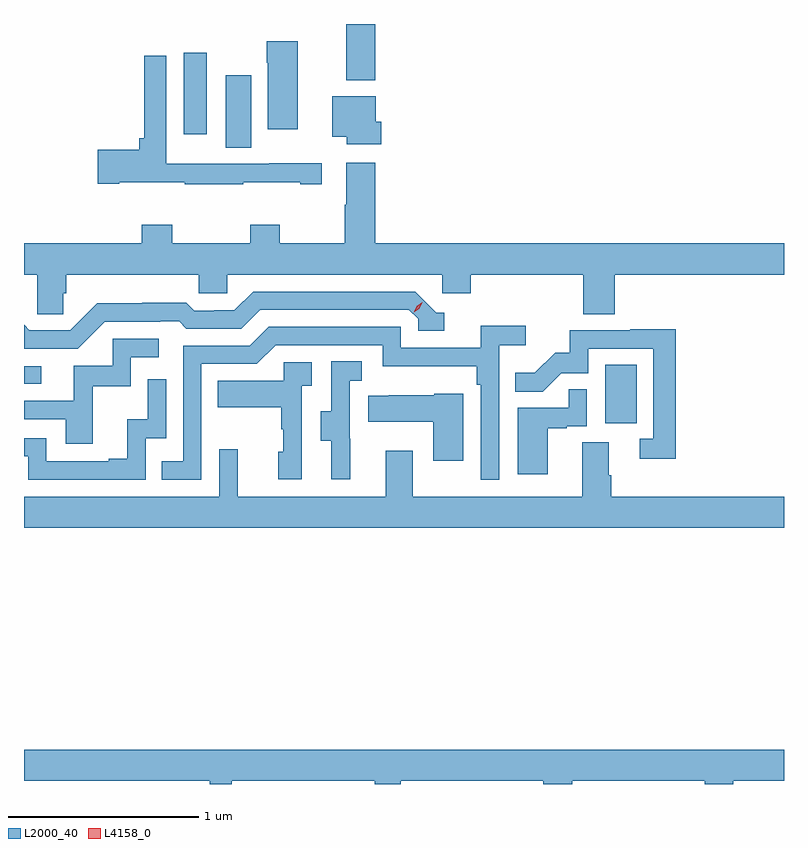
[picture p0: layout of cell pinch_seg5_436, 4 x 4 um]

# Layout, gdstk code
import gdstk
lib = gdstk.Library(unit=1e-6, precision=1e-09)
def R(c, l, rs):  # rectangles x0, y0, x1, y1
    for r in rs: c.add(gdstk.rectangle(r[:2], r[2:], *l))
def P(c, l, *ps):  # polygons
    for p in ps: c.add(gdstk.Polygon(p, *l))
L2000_40 = (2000, 40)
L4158_0 = (4158, 0)

pinch_seg5_436 = lib.new_cell('pinch_seg5_436')
R(pinch_seg5_436, L2000_40, [(891.968,870.63,892.132,870.937), (888.908,870.837,889,870.93), (889.97,872.08,890.104,872.461), (889.748,872.151,889.87,872.581), (890.603,872.435,890.756,872.731)])
P(pinch_seg5_436, L2000_40, [(890.35,872.641),(890.185,872.641),(890.185,872.528),(890.192,872.528),(890.192,872.178),(890.35,872.178)],
  [(890.063,871.897),(890.363,871.897),(890.363,871.887),(890.476,871.887),(890.476,871.997),(890.2,871.997),(890.2,871.995),(889.866,871.995),(889.866,871.996),(889.656,871.996),(889.656,872.563),(889.54,872.563),(889.54,872.131),(889.514,872.131),(889.514,872.069),(889.296,872.069),(889.296,871.891),(889.408,871.891),(889.408,871.897),(889.753,871.897),(889.753,871.887),(890.063,871.887)],
  [(890.789,872.217),(890.758,872.217),(890.758,872.35),(890.531,872.35),(890.531,872.138),(890.606,872.138),(890.606,872.099),(890.789,872.099)],
  [(889.115,871.314),(889.13,871.314),(889.13,871.412),(889.827,871.412),(889.827,871.314),(889.977,871.314),(889.977,871.412),(891.108,871.412),(891.108,871.314),(891.26,871.314),(891.26,871.412),(891.851,871.412),(891.851,871.204),(892.016,871.204),(892.016,871.412),(892.908,871.412),(892.908,871.576),(890.756,871.576),(890.756,872.002),(890.603,872.002),(890.603,871.781),(890.596,871.781),(890.596,871.576),(890.253,871.576),(890.253,871.675),(890.098,871.675),(890.098,871.576),(889.689,871.576),(889.689,871.675),(889.529,871.675),(889.529,871.576),(888.908,871.576),(888.908,871.412),(888.978,871.412),(888.978,871.204),(889.115,871.204)],
  [(889.332,871.164),(889.625,871.164),(889.625,871.167),(889.724,871.167),(889.763,871.128),(890.052,871.128),(890.151,871.227),(890.934,871.227),(890.982,871.179),(890.982,871.116),(891.121,871.116),(891.121,871.212),(891.078,871.212),(890.967,871.323),(890.114,871.323),(890.015,871.224),(889.908,871.224),(889.908,871.221),(889.805,871.221),(889.763,871.264),(889.53,871.264),(889.53,871.261),(889.294,871.261),(889.152,871.119),(888.936,871.119),(888.908,871.147),(888.908,871.023),(889.191,871.023)],
  [(889.842,870.942),(890.133,870.942),(890.232,871.041),(890.796,871.041),(890.796,870.929),(891.292,870.929),(891.292,870.833),(891.312,870.833),(891.312,870.333),(891.408,870.333),(891.408,871.04),(891.55,871.04),(891.55,871.142),(891.311,871.142),(891.311,871.026),(890.892,871.026),(890.892,871.137),(890.195,871.137),(890.096,871.038),(889.746,871.038),(889.746,870.429),(889.633,870.429),(889.633,870.333),(889.842,870.333)],
  [(892.337,871.124),(892.099,871.124),(892.099,871.119),(891.781,871.119),(891.781,871.002),(891.704,871.002),(891.597,870.895),(891.493,870.895),(891.493,870.796),(891.637,870.796),(891.735,870.894),(891.879,870.894),(891.879,871.023),(892.221,871.023),(892.221,870.549),(892.149,870.549),(892.149,870.444),(892.337,870.444)],
  [(889.271,870.825),(889.47,870.825),(889.47,870.978),(889.618,870.978),(889.618,871.074),(889.374,871.074),(889.374,870.933),(889.169,870.933),(889.169,870.747),(888.908,870.747),(888.908,870.651),(889.127,870.651),(889.127,870.522),(889.271,870.522)],
  [(890.624,870.549),(890.622,870.549),(890.622,870.853),(890.686,870.853),(890.686,870.956),(890.526,870.956),(890.526,870.693),(890.471,870.693),(890.471,870.538),(890.525,870.538),(890.525,870.336),(890.624,870.336)],
  [(890.37,870.827),(890.422,870.827),(890.422,870.951),(890.274,870.951),(890.274,870.853),(889.927,870.853),(889.927,870.713),(890.262,870.713),(890.262,870.599),(890.272,870.599),(890.272,870.48),(890.246,870.48),(890.246,870.336),(890.37,870.336)],
  [(889.548,870.552),(889.656,870.552),(889.656,870.862),(889.56,870.862),(889.56,870.65),(889.451,870.65),(889.451,870.442),(889.355,870.442),(889.355,870.429),(889.026,870.429),(889.026,870.552),(888.908,870.552),(888.908,870.456),(888.93,870.456),(888.93,870.333),(889.548,870.333)],
  [(891.664,870.603),(891.764,870.603),(891.764,870.615),(891.87,870.615),(891.87,870.809),(891.775,870.809),(891.775,870.711),(891.506,870.711),(891.506,870.36),(891.664,870.36)],
  [(891.22,870.784),(891.066,870.784),(891.066,870.778),(890.827,870.778),(890.827,870.775),(890.719,870.775),(890.719,870.638),(891.062,870.638),(891.062,870.432),(891.22,870.432)],
  [(892.908,870.244),(891.998,870.244),(891.998,870.356),(891.985,870.356),(891.985,870.53),(891.845,870.53),(891.845,870.244),(890.953,870.244),(890.953,870.484),(890.813,870.484),(890.813,870.244),(890.033,870.244),(890.033,870.493),(889.935,870.493),(889.935,870.244),(888.908,870.244),(888.908,870.08),(892.908,870.08)],
  [(890.001,868.748),(890.753,868.748),(890.753,868.731),(890.892,868.731),(890.892,868.748),(891.642,868.748),(891.642,868.731),(891.794,868.731),(891.794,868.748),(892.491,868.748),(892.491,868.731),(892.641,868.731),(892.641,868.748),(892.908,868.748),(892.908,868.912),(888.908,868.912),(888.908,868.748),(889.885,868.748),(889.885,868.731),(890.001,868.731)])
P(pinch_seg5_436, L4158_0, [(890.958,871.213),(890.958,871.213),(890.974,871.246),(891.004,871.266),(891.005,871.266),(891.005,871.266),(890.989,871.233),(890.958,871.213)])

lib.write_gds('pinch_seg5_436.gds')
